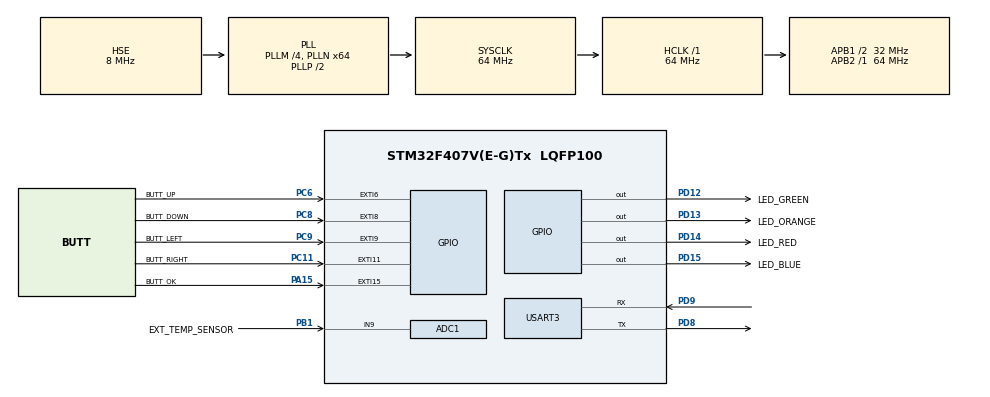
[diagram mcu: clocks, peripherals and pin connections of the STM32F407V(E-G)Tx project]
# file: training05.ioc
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ADC1.Channel-0\#ChannelRegularConversion=ADC_CHANNEL_9
ADC1.ClockPrescaler=ADC_CLOCK_SYNC_PCLK_DIV8
ADC1.ContinuousConvMode=ENABLE
ADC1.DMAContinuousRequests=ENABLE
ADC1.InjNumberOfConversion=0
ADC1.NbrOfConversion=1
ADC1.NbrOfConversionFlag=1
ADC1.Rank-0\#ChannelRegularConversion=1
ADC1.SamplingTime-0\#ChannelRegularConversion=ADC_SAMPLETIME_480CYCLES
ADC1.ScanConvMode=DISABLE
ADC1.master=1
Dma.ADC1.0.Direction=DMA_PERIPH_TO_MEMORY
Dma.ADC1.0.FIFOMode=DMA_FIFOMODE_DISABLE
Dma.ADC1.0.Instance=DMA2_Stream0
Dma.ADC1.0.MemDataAlignment=DMA_MDATAALIGN_HALFWORD
Dma.ADC1.0.MemInc=DMA_MINC_ENABLE
Dma.ADC1.0.Mode=DMA_CIRCULAR
Dma.ADC1.0.PeriphDataAlignment=DMA_PDATAALIGN_HALFWORD
Dma.ADC1.0.PeriphInc=DMA_PINC_DISABLE
Dma.ADC1.0.Priority=DMA_PRIORITY_LOW
Dma.Request0=ADC1
Dma.Request1=USART3_RX
Dma.USART3_RX.1.Direction=DMA_PERIPH_TO_MEMORY
Dma.USART3_RX.1.FIFOMode=DMA_FIFOMODE_DISABLE
Dma.USART3_RX.1.Instance=DMA1_Stream1
Dma.USART3_RX.1.MemDataAlignment=DMA_MDATAALIGN_BYTE
Dma.USART3_RX.1.MemInc=DMA_MINC_ENABLE
Dma.USART3_RX.1.Mode=DMA_CIRCULAR
Dma.USART3_RX.1.PeriphDataAlignment=DMA_PDATAALIGN_BYTE
Dma.USART3_RX.1.PeriphInc=DMA_PINC_DISABLE
Dma.USART3_RX.1.Priority=DMA_PRIORITY_LOW
Mcu.Family=STM32F4
Mcu.Name=STM32F407V(E-G)Tx
Mcu.Package=LQFP100
Mcu.UserConstants=TIM4_PRESCALER,8;PWM_PERIOD,100;TIM10_PRESCALER,64000
NVIC.DMA1_Stream1_IRQn=true\:0\:0\:false\:false\:true\:false\:true
NVIC.DMA2_Stream0_IRQn=true\:0\:0\:false\:false\:true\:false\:true
NVIC.EXTI15_10_IRQn=true\:0\:0\:false\:false\:true\:true\:true
NVIC.EXTI9_5_IRQn=true\:0\:0\:false\:false\:true\:true\:true
NVIC.PriorityGroup=NVIC_PRIORITYGROUP_4
NVIC.TIM1_UP_TIM10_IRQn=true\:0\:0\:false\:false\:true\:true\:true
PA13.Mode=Serial_Wire
PA13.Signal=SYS_JTMS-SWDIO
PA14.Mode=Serial_Wire
PA14.Signal=SYS_JTCK-SWCLK
PA15.GPIO_Label=BUTT_OK
PA15.GPIO_ModeDefaultEXTI=GPIO_MODE_IT_FALLING
PA15.GPIO_PuPd=GPIO_NOPULL
PA15.Signal=GPXTI15
PB1.GPIO_Label=EXT_TEMP_SENSOR
PB1.Signal=ADCx_IN9
PC11.GPIO_Label=BUTT_RIGHT
PC11.GPIO_ModeDefaultEXTI=GPIO_MODE_IT_FALLING
PC11.GPIO_PuPd=GPIO_NOPULL
PC11.Signal=GPXTI11
PC6.GPIO_Label=BUTT_UP
PC6.GPIO_ModeDefaultEXTI=GPIO_MODE_IT_FALLING
PC6.GPIO_PuPd=GPIO_NOPULL
PC6.Signal=GPXTI6
PC8.GPIO_Label=BUTT_DOWN
PC8.GPIO_ModeDefaultEXTI=GPIO_MODE_IT_FALLING
PC8.GPIO_PuPd=GPIO_NOPULL
PC8.Signal=GPXTI8
PC9.GPIO_Label=BUTT_LEFT
PC9.GPIO_ModeDefaultEXTI=GPIO_MODE_IT_FALLING
PC9.GPIO_PuPd=GPIO_NOPULL
PC9.Signal=GPXTI9
PD12.GPIO_Label=LED_GREEN
PD12.Signal=GPIO_Output
PD13.GPIO_Label=LED_ORANGE
PD13.Signal=GPIO_Output
PD14.GPIO_Label=LED_RED
PD14.Signal=GPIO_Output
PD15.GPIO_Label=LED_BLUE
PD15.Signal=GPIO_Output
PD8.Mode=Asynchronous
PD8.Signal=USART3_TX
PD9.Mode=Asynchronous
PD9.Signal=USART3_RX
PH0-OSC_IN.Mode=HSE-External-Oscillator
PH0-OSC_IN.Signal=RCC_OSC_IN
PH1-OSC_OUT.Mode=HSE-External-Oscillator
PH1-OSC_OUT.Signal=RCC_OSC_OUT
ProjectManager.HeapSize=0x200
ProjectManager.StackSize=0x400
ProjectManager.TargetToolchain=STM32CubeIDE
RCC.48MHZClocksFreq_Value=32000000
RCC.AHBFreq_Value=64000000
RCC.APB1CLKDivider=RCC_HCLK_DIV2
RCC.APB1Freq_Value=32000000
RCC.APB1TimFreq_Value=64000000
RCC.APB2Freq_Value=64000000
RCC.APB2TimFreq_Value=64000000
RCC.CortexFreq_Value=64000000
RCC.HCLKFreq_Value=64000000
RCC.HSE_VALUE=8000000
RCC.HSI_VALUE=16000000
RCC.LSE_VALUE=32768
RCC.PLLM=4
RCC.PLLN=64
RCC.PLLSourceVirtual=RCC_PLLSOURCE_HSE
RCC.SYSCLKFreq_VALUE=64000000
RCC.SYSCLKSource=RCC_SYSCLKSOURCE_PLLCLK
RCC.VCOOutputFreq_Value=128000000
SH.ADCx_IN9.0=ADC1_IN9,IN9
TIM10.AutoReloadPreload=TIM_AUTORELOAD_PRELOAD_DISABLE
TIM10.Period=0
TIM10.Prescaler=TIM10_PRESCALER-1
USART3.VirtualMode=VM_ASYNC
VP_TIM10_VS_ClockSourceINT.Mode=Enable_Timer
board=custom

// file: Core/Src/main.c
/* USER CODE BEGIN Header */
/**
  ******************************************************************************
  * @file           : main.c
  * @brief          : Main program body
  ******************************************************************************
  * @attention
  *
  * <h2><center>&copy; Copyright (c) 2021 STMicroelectronics.
  * All rights reserved.</center></h2>
  *
  * This software component is licensed by ST under BSD 3-Clause license,
  * the "License"; You may not use this file except in compliance with the
  * License. You may obtain a copy of the License at:
  *                        opensource.org/licenses/BSD-3-Clause
  *
  ******************************************************************************
  */
/* USER CODE END Header */
#include "main.h"

/* USER CODE BEGIN Includes */
#include <stdio.h>
#include <string.h>
/* USER CODE END Includes */

/* USER CODE BEGIN PD */
#define TEMP_SEND_FREQ 2							// Hz*10 (1 time per 5 seconds)

#define ADC_RESOLUTION 4095
#define VREF 3000
#define ADC_BUFF_SIZE 8
#define V_EXT_T_SENS_0 2020							//mV - external sensor voltage at 0 degrees Celsius
#define V_EXT_T_SENS_100 20							//mV - external sensor voltage at 100 degrees Celsius

#define TX_BUF_SIZE 64
#define RX_BUF_SIZE 1

#define TRUE 1
#define FALSE 0

#define UART_TIMEOUT 10
/* USER CODE END PD */

ADC_HandleTypeDef hadc1;
DMA_HandleTypeDef hdma_adc1;

TIM_HandleTypeDef htim10;

UART_HandleTypeDef huart3;
DMA_HandleTypeDef hdma_usart3_rx;

/* USER CODE BEGIN PV */
volatile uint8_t newADCData;
char action;

uint32_t carrierFreq;

uint16_t adcData[ADC_BUFF_SIZE];
char reciveBuf[RX_BUF_SIZE] = {0};
char transmitBuf[TX_BUF_SIZE] = {0};
uint16_t extTempVolts;
uint8_t extTempDegree;

const uint16_t extTempMax = 100, extTempMin = 0;		//°C

const char Red[] = "RED";
const char Green[] = "GREEN";
const char Blue[] = "BLUE";
const char Orange[] = "ORANGE";
const char strOn[] = "LED IS ON";
const char strOff[] = "LED IS OFF";

/* USER CODE END PV */

void SystemClock_Config(void);
static void MX_GPIO_Init(void);
static void MX_DMA_Init(void);
static void MX_ADC1_Init(void);
static void MX_TIM10_Init(void);
static void MX_USART3_UART_Init(void);
/* USER CODE BEGIN PFP */
void adcDataConvert(void);
/* USER CODE END PFP */

/* USER CODE BEGIN 0 */

int _write(int file, char* ptr, int len) {
	strncpy(transmitBuf, ptr, len);
	HAL_UART_Transmit(&huart3, (uint8_t*)transmitBuf, len, UART_TIMEOUT);
	return len;
}

void HAL_UART_RxCpltCallback (UART_HandleTypeDef * huart){
	action = reciveBuf[0];
//	HAL_GPIO_TogglePin(GPIOD, LED_GREEN_Pin);
}

/* @brief GPIO EXTI PIN Handler
 * @param GPIO PIN caused an interruption
 * @retval None
 * */
void HAL_GPIO_EXTI_Callback(uint16_t GPIO_Pin) {

	switch (GPIO_Pin) {
	case BUTT_LEFT_Pin:
		action = '1';
		break;
	case BUTT_UP_Pin:
		action = '2';
		break;
	case BUTT_RIGHT_Pin:
		action = '3';
		break;
	case BUTT_DOWN_Pin:
		action = '4';
		break;
	case BUTT_OK_Pin:
		action = '5';
		break;
	}
}

/* @brief TIM10 counter elapsed callback
 * @param *htim pointer to timer structure
 * @retval None
 * */
void HAL_TIM_PeriodElapsedCallback(TIM_HandleTypeDef *htim)
{
	printf("Ambient temperature is %d Celsius \r\n", extTempDegree);
}

/* @brief ADC group conversion complete
 * @param hadc pointer to ADC structure
 * @retval None
 * */
void HAL_ADC_ConvCpltCallback(ADC_HandleTypeDef* hadc){
	newADCData = TRUE;
}

/* @brief converting raw ADC data to volts and degrees
 * @param none
 * @retval none
 * */
void adcDataConvert(void){
	uint16_t ExtTempAvrADC = 0;

	for(uint8_t i = 0; i < ADC_BUFF_SIZE; i++){
		ExtTempAvrADC += adcData[i];
	}
	ExtTempAvrADC = ExtTempAvrADC >> 3;

	/*External temperature sensor: discrete to volts and to degrees*/
	extTempVolts = VREF * ExtTempAvrADC / ADC_RESOLUTION;
	extTempDegree = (uint8_t)(extTempMax - ((extTempVolts - V_EXT_T_SENS_100) * extTempMax / (V_EXT_T_SENS_0 - V_EXT_T_SENS_100)) + extTempMin);
}

/* USER CODE END 0 */

int main(void)
{

  /* MCU Configuration--------------------------------------------------------*/

  /* Reset of all peripherals, Initializes the Flash interface and the Systick. */
  HAL_Init();

  /* Configure the system clock */
  SystemClock_Config();

  /* Initialize all configured peripherals */
  MX_GPIO_Init();
  MX_DMA_Init();
  MX_ADC1_Init();
  MX_TIM10_Init();
  MX_USART3_UART_Init();
  /* USER CODE BEGIN 2 */
  HAL_ADC_Start_DMA(&hadc1, (uint32_t*)&adcData, 8);
  UART_Start_Receive_DMA (&huart3,(uint8_t*)&reciveBuf, 1);
  HAL_TIM_Base_Start_IT(&htim10);

  carrierFreq = (uint32_t)(HAL_RCC_GetPCLK2Freq()/(TIM10_PRESCALER));
  htim10.Instance->ARR = ((carrierFreq * 10)/(TEMP_SEND_FREQ)) - 1;

  printf("To light up the LEDs type '1' to '4' digits on keyboard \r\n");
  /* USER CODE END 2 */

  /* Infinite loop */
  /* USER CODE BEGIN WHILE */
  while (1)
  {
	  if (newADCData) {
	 		  adcDataConvert();
	 		  newADCData = FALSE;
	 	  }

	  if(action){
		  switch (action){
		  case '1':
			  if (HAL_GPIO_ReadPin(GPIOD, LED_ORANGE_Pin)){
				  HAL_GPIO_WritePin(GPIOD, LED_ORANGE_Pin, FALSE);
				  printf("%s %s\r\n", Orange, strOff);

			  }
			  else {
				  HAL_GPIO_WritePin(GPIOD, LED_ORANGE_Pin, TRUE);
				  printf("%s %s\r\n", Orange, strOn);
			  }
			  action = 0;
			  break;
		  case '2':
			  if (HAL_GPIO_ReadPin(GPIOD, LED_RED_Pin)){
				  HAL_GPIO_WritePin(GPIOD, LED_RED_Pin, FALSE);
				  printf("%s %s\r\n", Red, strOff);
			  }
			  else {
				  HAL_GPIO_WritePin(GPIOD, LED_RED_Pin, TRUE);
				  printf("%s %s\r\n", Red, strOn);
			  }
			  action = 0;
			  break;
		  case '3':
			  if (HAL_GPIO_ReadPin(GPIOD, LED_BLUE_Pin)){
				  HAL_GPIO_WritePin(GPIOD, LED_BLUE_Pin, FALSE);
				  printf("%s %s\r\n", Blue, strOff);
			  }
			  else {
				  HAL_GPIO_WritePin(GPIOD, LED_BLUE_Pin, TRUE);
				  printf("%s %s\r\n", Blue, strOn);
			  }
			  action = 0;
			  break;
		  case '4':
			  if (HAL_GPIO_ReadPin(GPIOD, LED_GREEN_Pin)){
				  HAL_GPIO_WritePin(GPIOD, LED_GREEN_Pin, FALSE);
				  printf("%s %s\r\n", Green, strOff);
			  }
			  else {
				  HAL_GPIO_WritePin(GPIOD, LED_GREEN_Pin, TRUE);
				  printf("%s %s\r\n", Green, strOn);
			  }
			  action = 0;
			  break;
		  default:
			  printf("Unknown command\r\n");
			  action = 0;
			  break;
		 }
	  }
    /* USER CODE END WHILE */

  }
}

void SystemClock_Config(void)
{
  RCC_OscInitTypeDef RCC_OscInitStruct = {0};
  RCC_ClkInitTypeDef RCC_ClkInitStruct = {0};

  /** Configure the main internal regulator output voltage
  */
  __HAL_RCC_PWR_CLK_ENABLE();
  __HAL_PWR_VOLTAGESCALING_CONFIG(PWR_REGULATOR_VOLTAGE_SCALE1);
  /** Initializes the RCC Oscillators according to the specified parameters
  * in the RCC_OscInitTypeDef structure.
  */
  RCC_OscInitStruct.OscillatorType = RCC_OSCILLATORTYPE_HSE;
  RCC_OscInitStruct.HSEState = RCC_HSE_ON;
  RCC_OscInitStruct.PLL.PLLState = RCC_PLL_ON;
  RCC_OscInitStruct.PLL.PLLSource = RCC_PLLSOURCE_HSE;
  RCC_OscInitStruct.PLL.PLLM = 4;
  RCC_OscInitStruct.PLL.PLLN = 64;
  RCC_OscInitStruct.PLL.PLLP = RCC_PLLP_DIV2;
  RCC_OscInitStruct.PLL.PLLQ = 4;
  if (HAL_RCC_OscConfig(&RCC_OscInitStruct) != HAL_OK)
  {
    Error_Handler();
  }
  /** Initializes the CPU, AHB and APB buses clocks
  */
  RCC_ClkInitStruct.ClockType = RCC_CLOCKTYPE_HCLK|RCC_CLOCKTYPE_SYSCLK
                              |RCC_CLOCKTYPE_PCLK1|RCC_CLOCKTYPE_PCLK2;
  RCC_ClkInitStruct.SYSCLKSource = RCC_SYSCLKSOURCE_PLLCLK;
  RCC_ClkInitStruct.AHBCLKDivider = RCC_SYSCLK_DIV1;
  RCC_ClkInitStruct.APB1CLKDivider = RCC_HCLK_DIV2;
  RCC_ClkInitStruct.APB2CLKDivider = RCC_HCLK_DIV1;

  if (HAL_RCC_ClockConfig(&RCC_ClkInitStruct, FLASH_LATENCY_2) != HAL_OK)
  {
    Error_Handler();
  }
}

static void MX_ADC1_Init(void)
{

  ADC_ChannelConfTypeDef sConfig = {0};

  /** Configure the global features of the ADC (Clock, Resolution, Data Alignment and number of conversion)
  */
  hadc1.Instance = ADC1;
  hadc1.Init.ClockPrescaler = ADC_CLOCK_SYNC_PCLK_DIV8;
  hadc1.Init.Resolution = ADC_RESOLUTION_12B;
  hadc1.Init.ScanConvMode = DISABLE;
  hadc1.Init.ContinuousConvMode = ENABLE;
  hadc1.Init.DiscontinuousConvMode = DISABLE;
  hadc1.Init.ExternalTrigConvEdge = ADC_EXTERNALTRIGCONVEDGE_NONE;
  hadc1.Init.ExternalTrigConv = ADC_SOFTWARE_START;
  hadc1.Init.DataAlign = ADC_DATAALIGN_RIGHT;
  hadc1.Init.NbrOfConversion = 1;
  hadc1.Init.DMAContinuousRequests = ENABLE;
  hadc1.Init.EOCSelection = ADC_EOC_SINGLE_CONV;
  if (HAL_ADC_Init(&hadc1) != HAL_OK)
  {
    Error_Handler();
  }
  /** Configure for the selected ADC regular channel its corresponding rank in the sequencer and its sample time.
  */
  sConfig.Channel = ADC_CHANNEL_9;
  sConfig.Rank = 1;
  sConfig.SamplingTime = ADC_SAMPLETIME_480CYCLES;
  if (HAL_ADC_ConfigChannel(&hadc1, &sConfig) != HAL_OK)
  {
    Error_Handler();
  }

}

static void MX_TIM10_Init(void)
{

  htim10.Instance = TIM10;
  htim10.Init.Prescaler = TIM10_PRESCALER-1;
  htim10.Init.CounterMode = TIM_COUNTERMODE_UP;
  htim10.Init.Period = 0;
  htim10.Init.ClockDivision = TIM_CLOCKDIVISION_DIV1;
  htim10.Init.AutoReloadPreload = TIM_AUTORELOAD_PRELOAD_DISABLE;
  if (HAL_TIM_Base_Init(&htim10) != HAL_OK)
  {
    Error_Handler();
  }
  /* USER CODE BEGIN TIM10_Init 2 */
  htim10.Instance->EGR = TRUE;
  __HAL_TIM_CLEAR_FLAG(&htim10, TIM_FLAG_UPDATE);
  //__HAL_TIM_CLEAR_FLAG(&htim10, TIM_SR_UIF);
  /* USER CODE END TIM10_Init 2 */

}

static void MX_USART3_UART_Init(void)
{

  huart3.Instance = USART3;
  huart3.Init.BaudRate = 115200;
  huart3.Init.WordLength = UART_WORDLENGTH_8B;
  huart3.Init.StopBits = UART_STOPBITS_1;
  huart3.Init.Parity = UART_PARITY_NONE;
  huart3.Init.Mode = UART_MODE_TX_RX;
  huart3.Init.HwFlowCtl = UART_HWCONTROL_NONE;
  huart3.Init.OverSampling = UART_OVERSAMPLING_16;
  if (HAL_UART_Init(&huart3) != HAL_OK)
  {
    Error_Handler();
  }

}

static void MX_DMA_Init(void)
{

  /* DMA controller clock enable */
  __HAL_RCC_DMA2_CLK_ENABLE();
  __HAL_RCC_DMA1_CLK_ENABLE();

  /* DMA interrupt init */
  /* DMA1_Stream1_IRQn interrupt configuration */
  HAL_NVIC_SetPriority(DMA1_Stream1_IRQn, 0, 0);
  HAL_NVIC_EnableIRQ(DMA1_Stream1_IRQn);
  /* DMA2_Stream0_IRQn interrupt configuration */
  HAL_NVIC_SetPriority(DMA2_Stream0_IRQn, 0, 0);
  HAL_NVIC_EnableIRQ(DMA2_Stream0_IRQn);

}

static void MX_GPIO_Init(void)
{
  GPIO_InitTypeDef GPIO_InitStruct = {0};

  /* GPIO Ports Clock Enable */
  __HAL_RCC_GPIOH_CLK_ENABLE();
  __HAL_RCC_GPIOB_CLK_ENABLE();
  __HAL_RCC_GPIOD_CLK_ENABLE();
  __HAL_RCC_GPIOC_CLK_ENABLE();
  __HAL_RCC_GPIOA_CLK_ENABLE();

  /*Configure GPIO pin Output Level */
  HAL_GPIO_WritePin(GPIOD, LED_GREEN_Pin|LED_ORANGE_Pin|LED_RED_Pin|LED_BLUE_Pin, GPIO_PIN_RESET);

  /*Configure GPIO pins : LED_GREEN_Pin LED_ORANGE_Pin LED_RED_Pin LED_BLUE_Pin */
  GPIO_InitStruct.Pin = LED_GREEN_Pin|LED_ORANGE_Pin|LED_RED_Pin|LED_BLUE_Pin;
  GPIO_InitStruct.Mode = GPIO_MODE_OUTPUT_PP;
  GPIO_InitStruct.Pull = GPIO_NOPULL;
  GPIO_InitStruct.Speed = GPIO_SPEED_FREQ_LOW;
  HAL_GPIO_Init(GPIOD, &GPIO_InitStruct);

  /*Configure GPIO pins : BUTT_UP_Pin BUTT_DOWN_Pin BUTT_LEFT_Pin BUTT_RIGHT_Pin */
  GPIO_InitStruct.Pin = BUTT_UP_Pin|BUTT_DOWN_Pin|BUTT_LEFT_Pin|BUTT_RIGHT_Pin;
  GPIO_InitStruct.Mode = GPIO_MODE_IT_FALLING;
  GPIO_InitStruct.Pull = GPIO_NOPULL;
  HAL_GPIO_Init(GPIOC, &GPIO_InitStruct);

  /*Configure GPIO pin : BUTT_OK_Pin */
  GPIO_InitStruct.Pin = BUTT_OK_Pin;
  GPIO_InitStruct.Mode = GPIO_MODE_IT_FALLING;
  GPIO_InitStruct.Pull = GPIO_NOPULL;
  HAL_GPIO_Init(BUTT_OK_GPIO_Port, &GPIO_InitStruct);

  /* EXTI interrupt init*/
  HAL_NVIC_SetPriority(EXTI9_5_IRQn, 0, 0);
  HAL_NVIC_EnableIRQ(EXTI9_5_IRQn);

  HAL_NVIC_SetPriority(EXTI15_10_IRQn, 0, 0);
  HAL_NVIC_EnableIRQ(EXTI15_10_IRQn);

}

void Error_Handler(void)
{
  __disable_irq();
  while (1)
  {
  }
}

/************************ (C) COPYRIGHT STMicroelectronics *****END OF FILE****/
